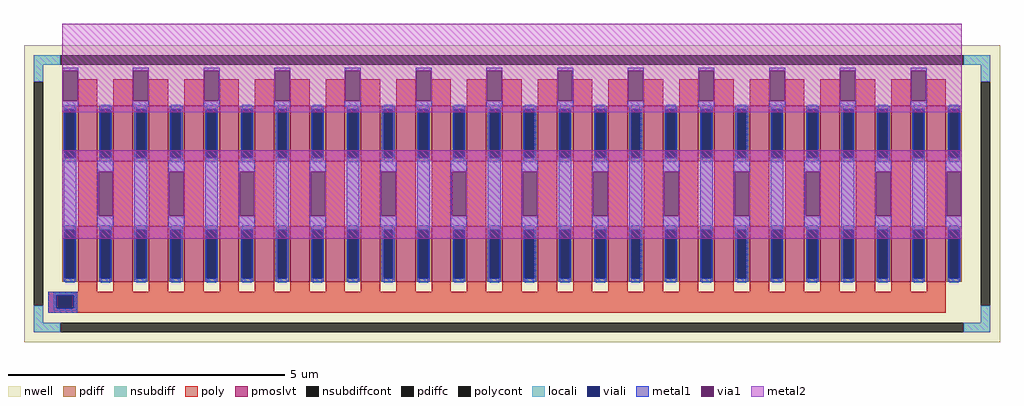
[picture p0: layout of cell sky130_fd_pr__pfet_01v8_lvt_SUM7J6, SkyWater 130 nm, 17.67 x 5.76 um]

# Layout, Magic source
magic
tech sky130A
magscale 1 2
<< nwell >>
rect -1768 -538 1766 536
<< pmoslvt >>
rect -1572 117 -1502 317
rect -1444 117 -1374 317
rect -1316 117 -1246 317
rect -1188 117 -1118 317
rect -1060 117 -990 317
rect -932 117 -862 317
rect -804 117 -734 317
rect -676 117 -606 317
rect -548 117 -478 317
rect -420 117 -350 317
rect -292 117 -222 317
rect -164 117 -94 317
rect -36 117 34 317
rect 92 117 162 317
rect 220 117 290 317
rect 348 117 418 317
rect 476 117 546 317
rect 604 117 674 317
rect 732 117 802 317
rect 860 117 930 317
rect 988 117 1058 317
rect 1116 117 1186 317
rect 1244 117 1314 317
rect 1372 117 1442 317
rect 1500 117 1570 317
rect -1572 -319 -1502 -119
rect -1444 -319 -1374 -119
rect -1316 -319 -1246 -119
rect -1188 -319 -1118 -119
rect -1060 -319 -990 -119
rect -932 -319 -862 -119
rect -804 -319 -734 -119
rect -676 -319 -606 -119
rect -548 -319 -478 -119
rect -420 -319 -350 -119
rect -292 -319 -222 -119
rect -164 -319 -94 -119
rect -36 -319 34 -119
rect 92 -319 162 -119
rect 220 -319 290 -119
rect 348 -319 418 -119
rect 476 -319 546 -119
rect 604 -319 674 -119
rect 732 -319 802 -119
rect 860 -319 930 -119
rect 988 -319 1058 -119
rect 1116 -319 1186 -119
rect 1244 -319 1314 -119
rect 1372 -319 1442 -119
rect 1500 -319 1570 -119
<< pdiff >>
rect -1630 305 -1572 317
rect -1630 129 -1618 305
rect -1584 129 -1572 305
rect -1630 117 -1572 129
rect -1502 305 -1444 317
rect -1502 129 -1490 305
rect -1456 129 -1444 305
rect -1502 117 -1444 129
rect -1374 305 -1316 317
rect -1374 129 -1362 305
rect -1328 129 -1316 305
rect -1374 117 -1316 129
rect -1246 305 -1188 317
rect -1246 129 -1234 305
rect -1200 129 -1188 305
rect -1246 117 -1188 129
rect -1118 305 -1060 317
rect -1118 129 -1106 305
rect -1072 129 -1060 305
rect -1118 117 -1060 129
rect -990 305 -932 317
rect -990 129 -978 305
rect -944 129 -932 305
rect -990 117 -932 129
rect -862 305 -804 317
rect -862 129 -850 305
rect -816 129 -804 305
rect -862 117 -804 129
rect -734 305 -676 317
rect -734 129 -722 305
rect -688 129 -676 305
rect -734 117 -676 129
rect -606 305 -548 317
rect -606 129 -594 305
rect -560 129 -548 305
rect -606 117 -548 129
rect -478 305 -420 317
rect -478 129 -466 305
rect -432 129 -420 305
rect -478 117 -420 129
rect -350 305 -292 317
rect -350 129 -338 305
rect -304 129 -292 305
rect -350 117 -292 129
rect -222 305 -164 317
rect -222 129 -210 305
rect -176 129 -164 305
rect -222 117 -164 129
rect -94 305 -36 317
rect -94 129 -82 305
rect -48 129 -36 305
rect -94 117 -36 129
rect 34 305 92 317
rect 34 129 46 305
rect 80 129 92 305
rect 34 117 92 129
rect 162 305 220 317
rect 162 129 174 305
rect 208 129 220 305
rect 162 117 220 129
rect 290 305 348 317
rect 290 129 302 305
rect 336 129 348 305
rect 290 117 348 129
rect 418 305 476 317
rect 418 129 430 305
rect 464 129 476 305
rect 418 117 476 129
rect 546 305 604 317
rect 546 129 558 305
rect 592 129 604 305
rect 546 117 604 129
rect 674 305 732 317
rect 674 129 686 305
rect 720 129 732 305
rect 674 117 732 129
rect 802 305 860 317
rect 802 129 814 305
rect 848 129 860 305
rect 802 117 860 129
rect 930 305 988 317
rect 930 129 942 305
rect 976 129 988 305
rect 930 117 988 129
rect 1058 305 1116 317
rect 1058 129 1070 305
rect 1104 129 1116 305
rect 1058 117 1116 129
rect 1186 305 1244 317
rect 1186 129 1198 305
rect 1232 129 1244 305
rect 1186 117 1244 129
rect 1314 305 1372 317
rect 1314 129 1326 305
rect 1360 129 1372 305
rect 1314 117 1372 129
rect 1442 305 1500 317
rect 1442 129 1454 305
rect 1488 129 1500 305
rect 1442 117 1500 129
rect 1570 305 1628 317
rect 1570 129 1582 305
rect 1616 129 1628 305
rect 1570 117 1628 129
rect -1630 -131 -1572 -119
rect -1630 -307 -1618 -131
rect -1584 -307 -1572 -131
rect -1630 -319 -1572 -307
rect -1502 -131 -1444 -119
rect -1502 -307 -1490 -131
rect -1456 -307 -1444 -131
rect -1502 -319 -1444 -307
rect -1374 -131 -1316 -119
rect -1374 -307 -1362 -131
rect -1328 -307 -1316 -131
rect -1374 -319 -1316 -307
rect -1246 -131 -1188 -119
rect -1246 -307 -1234 -131
rect -1200 -307 -1188 -131
rect -1246 -319 -1188 -307
rect -1118 -131 -1060 -119
rect -1118 -307 -1106 -131
rect -1072 -307 -1060 -131
rect -1118 -319 -1060 -307
rect -990 -131 -932 -119
rect -990 -307 -978 -131
rect -944 -307 -932 -131
rect -990 -319 -932 -307
rect -862 -131 -804 -119
rect -862 -307 -850 -131
rect -816 -307 -804 -131
rect -862 -319 -804 -307
rect -734 -131 -676 -119
rect -734 -307 -722 -131
rect -688 -307 -676 -131
rect -734 -319 -676 -307
rect -606 -131 -548 -119
rect -606 -307 -594 -131
rect -560 -307 -548 -131
rect -606 -319 -548 -307
rect -478 -131 -420 -119
rect -478 -307 -466 -131
rect -432 -307 -420 -131
rect -478 -319 -420 -307
rect -350 -131 -292 -119
rect -350 -307 -338 -131
rect -304 -307 -292 -131
rect -350 -319 -292 -307
rect -222 -131 -164 -119
rect -222 -307 -210 -131
rect -176 -307 -164 -131
rect -222 -319 -164 -307
rect -94 -131 -36 -119
rect -94 -307 -82 -131
rect -48 -307 -36 -131
rect -94 -319 -36 -307
rect 34 -131 92 -119
rect 34 -307 46 -131
rect 80 -307 92 -131
rect 34 -319 92 -307
rect 162 -131 220 -119
rect 162 -307 174 -131
rect 208 -307 220 -131
rect 162 -319 220 -307
rect 290 -131 348 -119
rect 290 -307 302 -131
rect 336 -307 348 -131
rect 290 -319 348 -307
rect 418 -131 476 -119
rect 418 -307 430 -131
rect 464 -307 476 -131
rect 418 -319 476 -307
rect 546 -131 604 -119
rect 546 -307 558 -131
rect 592 -307 604 -131
rect 546 -319 604 -307
rect 674 -131 732 -119
rect 674 -307 686 -131
rect 720 -307 732 -131
rect 674 -319 732 -307
rect 802 -131 860 -119
rect 802 -307 814 -131
rect 848 -307 860 -131
rect 802 -319 860 -307
rect 930 -131 988 -119
rect 930 -307 942 -131
rect 976 -307 988 -131
rect 930 -319 988 -307
rect 1058 -131 1116 -119
rect 1058 -307 1070 -131
rect 1104 -307 1116 -131
rect 1058 -319 1116 -307
rect 1186 -131 1244 -119
rect 1186 -307 1198 -131
rect 1232 -307 1244 -131
rect 1186 -319 1244 -307
rect 1314 -131 1372 -119
rect 1314 -307 1326 -131
rect 1360 -307 1372 -131
rect 1314 -319 1372 -307
rect 1442 -131 1500 -119
rect 1442 -307 1454 -131
rect 1488 -307 1500 -131
rect 1442 -319 1500 -307
rect 1570 -131 1628 -119
rect 1570 -307 1582 -131
rect 1616 -307 1628 -131
rect 1570 -319 1628 -307
<< pdiffc >>
rect -1618 129 -1584 305
rect -1490 129 -1456 305
rect -1362 129 -1328 305
rect -1234 129 -1200 305
rect -1106 129 -1072 305
rect -978 129 -944 305
rect -850 129 -816 305
rect -722 129 -688 305
rect -594 129 -560 305
rect -466 129 -432 305
rect -338 129 -304 305
rect -210 129 -176 305
rect -82 129 -48 305
rect 46 129 80 305
rect 174 129 208 305
rect 302 129 336 305
rect 430 129 464 305
rect 558 129 592 305
rect 686 129 720 305
rect 814 129 848 305
rect 942 129 976 305
rect 1070 129 1104 305
rect 1198 129 1232 305
rect 1326 129 1360 305
rect 1454 129 1488 305
rect 1582 129 1616 305
rect -1618 -307 -1584 -131
rect -1490 -307 -1456 -131
rect -1362 -307 -1328 -131
rect -1234 -307 -1200 -131
rect -1106 -307 -1072 -131
rect -978 -307 -944 -131
rect -850 -307 -816 -131
rect -722 -307 -688 -131
rect -594 -307 -560 -131
rect -466 -307 -432 -131
rect -338 -307 -304 -131
rect -210 -307 -176 -131
rect -82 -307 -48 -131
rect 46 -307 80 -131
rect 174 -307 208 -131
rect 302 -307 336 -131
rect 430 -307 464 -131
rect 558 -307 592 -131
rect 686 -307 720 -131
rect 814 -307 848 -131
rect 942 -307 976 -131
rect 1070 -307 1104 -131
rect 1198 -307 1232 -131
rect 1326 -307 1360 -131
rect 1454 -307 1488 -131
rect 1582 -307 1616 -131
<< nsubdiff >>
rect -1732 466 -1636 500
rect 1634 466 1730 500
rect -1732 404 -1698 466
rect 1696 404 1730 466
rect -1732 -468 -1698 -406
rect 1696 -468 1730 -406
rect -1732 -502 -1636 -468
rect 1634 -502 1730 -468
<< nsubdiffcont >>
rect -1636 466 1634 500
rect -1732 -406 -1698 404
rect 1696 -406 1730 404
rect -1636 -502 1634 -468
<< poly >>
rect -1572 317 -1502 414
rect -1444 317 -1374 414
rect -1316 317 -1246 414
rect -1188 317 -1118 414
rect -1060 317 -990 414
rect -932 317 -862 414
rect -804 317 -734 414
rect -676 317 -606 414
rect -548 317 -478 414
rect -420 317 -350 414
rect -292 317 -222 414
rect -164 317 -94 414
rect -36 317 34 414
rect 92 317 162 414
rect 220 317 290 414
rect 348 317 418 414
rect 476 317 546 414
rect 604 317 674 414
rect 732 317 802 414
rect 860 317 930 414
rect 988 317 1058 414
rect 1116 317 1186 414
rect 1244 317 1314 414
rect 1372 317 1442 414
rect 1500 317 1570 414
rect -1572 -119 -1502 117
rect -1444 -119 -1374 117
rect -1316 -119 -1246 117
rect -1188 -119 -1118 117
rect -1060 -119 -990 117
rect -932 -119 -862 117
rect -804 -119 -734 117
rect -676 -119 -606 117
rect -548 -119 -478 117
rect -420 -119 -350 117
rect -292 -119 -222 117
rect -164 -119 -94 117
rect -36 -119 34 117
rect 92 -119 162 117
rect 220 -119 290 117
rect 348 -119 418 117
rect 476 -119 546 117
rect 604 -119 674 117
rect 732 -119 802 117
rect 860 -119 930 117
rect 988 -119 1058 117
rect 1116 -119 1186 117
rect 1244 -119 1314 117
rect 1372 -119 1442 117
rect 1500 -119 1570 117
rect -1572 -356 -1502 -319
rect -1444 -356 -1374 -319
rect -1316 -356 -1246 -319
rect -1188 -356 -1118 -319
rect -1060 -356 -990 -319
rect -932 -356 -862 -319
rect -804 -356 -734 -319
rect -676 -356 -606 -319
rect -548 -356 -478 -319
rect -420 -356 -350 -319
rect -292 -356 -222 -319
rect -164 -356 -94 -319
rect -36 -356 34 -319
rect 92 -356 162 -319
rect 220 -356 290 -319
rect 348 -356 418 -319
rect 476 -356 546 -319
rect 604 -356 674 -319
rect 732 -356 802 -319
rect 860 -356 930 -319
rect 988 -356 1058 -319
rect 1116 -356 1186 -319
rect 1244 -356 1314 -319
rect 1372 -356 1442 -319
rect 1500 -356 1570 -319
rect -1680 -374 1570 -356
rect -1680 -408 -1644 -374
rect -1596 -408 1570 -374
rect -1680 -432 1570 -408
<< polycont >>
rect -1644 -408 -1596 -374
<< locali >>
rect -1732 466 -1636 500
rect 1634 466 1730 500
rect -1732 404 -1698 466
rect 1696 404 1730 466
rect -1618 305 -1584 321
rect -1618 113 -1584 129
rect -1490 305 -1456 321
rect -1490 113 -1456 129
rect -1362 305 -1328 321
rect -1362 113 -1328 129
rect -1234 305 -1200 321
rect -1234 113 -1200 129
rect -1106 305 -1072 321
rect -1106 113 -1072 129
rect -978 305 -944 321
rect -978 113 -944 129
rect -850 305 -816 321
rect -850 113 -816 129
rect -722 305 -688 321
rect -722 113 -688 129
rect -594 305 -560 321
rect -594 113 -560 129
rect -466 305 -432 321
rect -466 113 -432 129
rect -338 305 -304 321
rect -338 113 -304 129
rect -210 305 -176 321
rect -210 113 -176 129
rect -82 305 -48 321
rect -82 113 -48 129
rect 46 305 80 321
rect 46 113 80 129
rect 174 305 208 321
rect 174 113 208 129
rect 302 305 336 321
rect 302 113 336 129
rect 430 305 464 321
rect 430 113 464 129
rect 558 305 592 321
rect 558 113 592 129
rect 686 305 720 321
rect 686 113 720 129
rect 814 305 848 321
rect 814 113 848 129
rect 942 305 976 321
rect 942 113 976 129
rect 1070 305 1104 321
rect 1070 113 1104 129
rect 1198 305 1232 321
rect 1198 113 1232 129
rect 1326 305 1360 321
rect 1326 113 1360 129
rect 1454 305 1488 321
rect 1454 113 1488 129
rect 1582 305 1616 321
rect 1582 113 1616 129
rect -1618 -131 -1584 -115
rect -1618 -323 -1584 -307
rect -1490 -131 -1456 -115
rect -1490 -323 -1456 -307
rect -1362 -131 -1328 -115
rect -1362 -323 -1328 -307
rect -1234 -131 -1200 -115
rect -1234 -323 -1200 -307
rect -1106 -131 -1072 -115
rect -1106 -323 -1072 -307
rect -978 -131 -944 -115
rect -978 -323 -944 -307
rect -850 -131 -816 -115
rect -850 -323 -816 -307
rect -722 -131 -688 -115
rect -722 -323 -688 -307
rect -594 -131 -560 -115
rect -594 -323 -560 -307
rect -466 -131 -432 -115
rect -466 -323 -432 -307
rect -338 -131 -304 -115
rect -338 -323 -304 -307
rect -210 -131 -176 -115
rect -210 -323 -176 -307
rect -82 -131 -48 -115
rect -82 -323 -48 -307
rect 46 -131 80 -115
rect 46 -323 80 -307
rect 174 -131 208 -115
rect 174 -323 208 -307
rect 302 -131 336 -115
rect 302 -323 336 -307
rect 430 -131 464 -115
rect 430 -323 464 -307
rect 558 -131 592 -115
rect 558 -323 592 -307
rect 686 -131 720 -115
rect 686 -323 720 -307
rect 814 -131 848 -115
rect 814 -323 848 -307
rect 942 -131 976 -115
rect 942 -323 976 -307
rect 1070 -131 1104 -115
rect 1070 -323 1104 -307
rect 1198 -131 1232 -115
rect 1198 -323 1232 -307
rect 1326 -131 1360 -115
rect 1326 -323 1360 -307
rect 1454 -131 1488 -115
rect 1454 -323 1488 -307
rect 1582 -131 1616 -115
rect 1582 -323 1616 -307
rect -1732 -468 -1698 -406
rect -1660 -368 -1580 -360
rect -1660 -416 -1652 -368
rect -1588 -416 -1580 -368
rect -1660 -424 -1580 -416
rect 1696 -468 1730 -406
rect -1732 -502 -1636 -468
rect 1634 -502 1730 -468
<< viali >>
rect -1618 129 -1584 305
rect -1490 129 -1456 305
rect -1362 129 -1328 305
rect -1234 129 -1200 305
rect -1106 129 -1072 305
rect -978 129 -944 305
rect -850 129 -816 305
rect -722 129 -688 305
rect -594 129 -560 305
rect -466 129 -432 305
rect -338 129 -304 305
rect -210 129 -176 305
rect -82 129 -48 305
rect 46 129 80 305
rect 174 129 208 305
rect 302 129 336 305
rect 430 129 464 305
rect 558 129 592 305
rect 686 129 720 305
rect 814 129 848 305
rect 942 129 976 305
rect 1070 129 1104 305
rect 1198 129 1232 305
rect 1326 129 1360 305
rect 1454 129 1488 305
rect 1582 129 1616 305
rect -1618 -307 -1584 -131
rect -1490 -307 -1456 -131
rect -1362 -307 -1328 -131
rect -1234 -307 -1200 -131
rect -1106 -307 -1072 -131
rect -978 -307 -944 -131
rect -850 -307 -816 -131
rect -722 -307 -688 -131
rect -594 -307 -560 -131
rect -466 -307 -432 -131
rect -338 -307 -304 -131
rect -210 -307 -176 -131
rect -82 -307 -48 -131
rect 46 -307 80 -131
rect 174 -307 208 -131
rect 302 -307 336 -131
rect 430 -307 464 -131
rect 558 -307 592 -131
rect 686 -307 720 -131
rect 814 -307 848 -131
rect 942 -307 976 -131
rect 1070 -307 1104 -131
rect 1198 -307 1232 -131
rect 1326 -307 1360 -131
rect 1454 -307 1488 -131
rect 1582 -307 1616 -131
rect -1652 -374 -1588 -368
rect -1652 -408 -1644 -374
rect -1644 -408 -1596 -374
rect -1596 -408 -1588 -374
rect -1652 -416 -1588 -408
<< metal1 >>
rect -1630 444 -1572 456
rect -1630 336 -1628 444
rect -1574 336 -1572 444
rect -1630 314 -1572 336
rect -1374 444 -1316 456
rect -1374 336 -1372 444
rect -1318 336 -1316 444
rect -1624 305 -1578 314
rect -1624 129 -1618 305
rect -1584 129 -1578 305
rect -1624 -131 -1578 129
rect -1496 305 -1450 317
rect -1374 314 -1316 336
rect -1118 444 -1060 456
rect -1118 336 -1116 444
rect -1062 336 -1060 444
rect -1496 129 -1490 305
rect -1456 129 -1450 305
rect -1496 118 -1450 129
rect -1368 305 -1322 314
rect -1368 129 -1362 305
rect -1328 129 -1322 305
rect -1502 78 -1444 118
rect -1502 -80 -1498 78
rect -1446 -80 -1444 78
rect -1502 -120 -1444 -80
rect -1624 -307 -1618 -131
rect -1584 -307 -1578 -131
rect -1624 -319 -1578 -307
rect -1496 -131 -1450 -120
rect -1496 -307 -1490 -131
rect -1456 -307 -1450 -131
rect -1496 -319 -1450 -307
rect -1368 -131 -1322 129
rect -1240 305 -1194 317
rect -1118 314 -1060 336
rect -862 444 -804 456
rect -862 336 -860 444
rect -806 336 -804 444
rect -1240 129 -1234 305
rect -1200 129 -1194 305
rect -1240 118 -1194 129
rect -1112 305 -1066 314
rect -1112 129 -1106 305
rect -1072 129 -1066 305
rect -1246 78 -1188 118
rect -1246 -80 -1242 78
rect -1190 -80 -1188 78
rect -1246 -120 -1188 -80
rect -1368 -307 -1362 -131
rect -1328 -307 -1322 -131
rect -1368 -319 -1322 -307
rect -1240 -131 -1194 -120
rect -1240 -307 -1234 -131
rect -1200 -307 -1194 -131
rect -1240 -319 -1194 -307
rect -1112 -131 -1066 129
rect -984 305 -938 317
rect -862 314 -804 336
rect -606 444 -548 456
rect -606 336 -604 444
rect -550 336 -548 444
rect -984 129 -978 305
rect -944 129 -938 305
rect -984 118 -938 129
rect -856 305 -810 314
rect -856 129 -850 305
rect -816 129 -810 305
rect -990 78 -932 118
rect -990 -80 -986 78
rect -934 -80 -932 78
rect -990 -120 -932 -80
rect -1112 -307 -1106 -131
rect -1072 -307 -1066 -131
rect -1112 -319 -1066 -307
rect -984 -131 -938 -120
rect -984 -307 -978 -131
rect -944 -307 -938 -131
rect -984 -319 -938 -307
rect -856 -131 -810 129
rect -728 305 -682 317
rect -606 314 -548 336
rect -350 444 -292 456
rect -350 336 -348 444
rect -294 336 -292 444
rect -728 129 -722 305
rect -688 129 -682 305
rect -728 118 -682 129
rect -600 305 -554 314
rect -600 129 -594 305
rect -560 129 -554 305
rect -734 78 -676 118
rect -734 -80 -730 78
rect -678 -80 -676 78
rect -734 -120 -676 -80
rect -856 -307 -850 -131
rect -816 -307 -810 -131
rect -856 -319 -810 -307
rect -728 -131 -682 -120
rect -728 -307 -722 -131
rect -688 -307 -682 -131
rect -728 -319 -682 -307
rect -600 -131 -554 129
rect -472 305 -426 317
rect -350 314 -292 336
rect -94 444 -36 456
rect -94 336 -92 444
rect -38 336 -36 444
rect -472 129 -466 305
rect -432 129 -426 305
rect -472 118 -426 129
rect -344 305 -298 314
rect -344 129 -338 305
rect -304 129 -298 305
rect -478 78 -420 118
rect -478 -80 -474 78
rect -422 -80 -420 78
rect -478 -120 -420 -80
rect -600 -307 -594 -131
rect -560 -307 -554 -131
rect -600 -319 -554 -307
rect -472 -131 -426 -120
rect -472 -307 -466 -131
rect -432 -307 -426 -131
rect -472 -319 -426 -307
rect -344 -131 -298 129
rect -216 305 -170 317
rect -94 314 -36 336
rect 162 444 220 456
rect 162 336 164 444
rect 218 336 220 444
rect -216 129 -210 305
rect -176 129 -170 305
rect -216 118 -170 129
rect -88 305 -42 314
rect -88 129 -82 305
rect -48 129 -42 305
rect -222 78 -164 118
rect -222 -80 -218 78
rect -166 -80 -164 78
rect -222 -120 -164 -80
rect -344 -307 -338 -131
rect -304 -307 -298 -131
rect -344 -319 -298 -307
rect -216 -131 -170 -120
rect -216 -307 -210 -131
rect -176 -307 -170 -131
rect -216 -319 -170 -307
rect -88 -131 -42 129
rect 40 305 86 317
rect 162 314 220 336
rect 418 444 476 456
rect 418 336 420 444
rect 474 336 476 444
rect 40 129 46 305
rect 80 129 86 305
rect 40 118 86 129
rect 168 305 214 314
rect 168 129 174 305
rect 208 129 214 305
rect 34 78 92 118
rect 34 -80 38 78
rect 90 -80 92 78
rect 34 -120 92 -80
rect -88 -307 -82 -131
rect -48 -307 -42 -131
rect -88 -319 -42 -307
rect 40 -131 86 -120
rect 40 -307 46 -131
rect 80 -307 86 -131
rect 40 -319 86 -307
rect 168 -131 214 129
rect 296 305 342 317
rect 418 314 476 336
rect 674 444 732 456
rect 674 336 676 444
rect 730 336 732 444
rect 296 129 302 305
rect 336 129 342 305
rect 296 118 342 129
rect 424 305 470 314
rect 424 129 430 305
rect 464 129 470 305
rect 290 78 348 118
rect 290 -80 294 78
rect 346 -80 348 78
rect 290 -120 348 -80
rect 168 -307 174 -131
rect 208 -307 214 -131
rect 168 -319 214 -307
rect 296 -131 342 -120
rect 296 -307 302 -131
rect 336 -307 342 -131
rect 296 -319 342 -307
rect 424 -131 470 129
rect 552 305 598 317
rect 674 314 732 336
rect 930 444 988 456
rect 930 336 932 444
rect 986 336 988 444
rect 552 129 558 305
rect 592 129 598 305
rect 552 118 598 129
rect 680 305 726 314
rect 680 129 686 305
rect 720 129 726 305
rect 546 78 604 118
rect 546 -80 550 78
rect 602 -80 604 78
rect 546 -120 604 -80
rect 424 -307 430 -131
rect 464 -307 470 -131
rect 424 -319 470 -307
rect 552 -131 598 -120
rect 552 -307 558 -131
rect 592 -307 598 -131
rect 552 -319 598 -307
rect 680 -131 726 129
rect 808 305 854 317
rect 930 314 988 336
rect 1186 444 1244 456
rect 1186 336 1188 444
rect 1242 336 1244 444
rect 808 129 814 305
rect 848 129 854 305
rect 808 118 854 129
rect 936 305 982 314
rect 936 129 942 305
rect 976 129 982 305
rect 802 78 860 118
rect 802 -80 806 78
rect 858 -80 860 78
rect 802 -120 860 -80
rect 680 -307 686 -131
rect 720 -307 726 -131
rect 680 -319 726 -307
rect 808 -131 854 -120
rect 808 -307 814 -131
rect 848 -307 854 -131
rect 808 -319 854 -307
rect 936 -131 982 129
rect 1064 305 1110 317
rect 1186 314 1244 336
rect 1442 444 1500 456
rect 1442 336 1444 444
rect 1498 336 1500 444
rect 1064 129 1070 305
rect 1104 129 1110 305
rect 1064 118 1110 129
rect 1192 305 1238 314
rect 1192 129 1198 305
rect 1232 129 1238 305
rect 1058 78 1116 118
rect 1058 -80 1062 78
rect 1114 -80 1116 78
rect 1058 -120 1116 -80
rect 936 -307 942 -131
rect 976 -307 982 -131
rect 936 -319 982 -307
rect 1064 -131 1110 -120
rect 1064 -307 1070 -131
rect 1104 -307 1110 -131
rect 1064 -319 1110 -307
rect 1192 -131 1238 129
rect 1320 305 1366 317
rect 1442 314 1500 336
rect 1320 129 1326 305
rect 1360 129 1366 305
rect 1320 118 1366 129
rect 1448 305 1494 314
rect 1448 129 1454 305
rect 1488 129 1494 305
rect 1314 78 1372 118
rect 1314 -80 1318 78
rect 1370 -80 1372 78
rect 1314 -120 1372 -80
rect 1192 -307 1198 -131
rect 1232 -307 1238 -131
rect 1192 -319 1238 -307
rect 1320 -131 1366 -120
rect 1320 -307 1326 -131
rect 1360 -307 1366 -131
rect 1320 -319 1366 -307
rect 1448 -131 1494 129
rect 1576 305 1622 317
rect 1576 129 1582 305
rect 1616 129 1622 305
rect 1576 118 1622 129
rect 1570 78 1628 118
rect 1570 -80 1574 78
rect 1626 -80 1628 78
rect 1570 -120 1628 -80
rect 1448 -307 1454 -131
rect 1488 -307 1494 -131
rect 1448 -319 1494 -307
rect 1576 -131 1622 -120
rect 1576 -307 1582 -131
rect 1616 -307 1622 -131
rect 1576 -319 1622 -307
rect -1680 -368 -1576 -356
rect -1680 -416 -1652 -368
rect -1588 -416 -1576 -368
rect -1680 -432 -1576 -416
<< via1 >>
rect -1628 336 -1574 444
rect -1372 336 -1318 444
rect -1116 336 -1062 444
rect -1498 -80 -1446 78
rect -860 336 -806 444
rect -1242 -80 -1190 78
rect -604 336 -550 444
rect -986 -80 -934 78
rect -348 336 -294 444
rect -730 -80 -678 78
rect -92 336 -38 444
rect -474 -80 -422 78
rect 164 336 218 444
rect -218 -80 -166 78
rect 420 336 474 444
rect 38 -80 90 78
rect 676 336 730 444
rect 294 -80 346 78
rect 932 336 986 444
rect 550 -80 602 78
rect 1188 336 1242 444
rect 806 -80 858 78
rect 1444 336 1498 444
rect 1062 -80 1114 78
rect 1318 -80 1370 78
rect 1574 -80 1626 78
<< metal2 >>
rect -1630 444 1628 614
rect -1630 336 -1628 444
rect -1574 336 -1372 444
rect -1318 336 -1116 444
rect -1062 336 -860 444
rect -806 336 -604 444
rect -550 336 -348 444
rect -294 336 -92 444
rect -38 336 164 444
rect 218 336 420 444
rect 474 336 676 444
rect 730 336 932 444
rect 986 336 1188 444
rect 1242 336 1444 444
rect 1498 336 1628 444
rect -1630 294 1628 336
rect -1630 78 1628 156
rect -1630 -80 -1498 78
rect -1446 -80 -1242 78
rect -1190 -80 -986 78
rect -934 -80 -730 78
rect -678 -80 -474 78
rect -422 -80 -218 78
rect -166 -80 38 78
rect 90 -80 294 78
rect 346 -80 550 78
rect 602 -80 806 78
rect 858 -80 1062 78
rect 1114 -80 1318 78
rect 1370 -80 1574 78
rect 1626 -80 1628 78
rect -1630 -164 1628 -80
<< properties >>
string FIXED_BBOX -1714 -484 1714 484
string gencell sky130_fd_pr__pfet_01v8_lvt
string library sky130
string parameters w 1.0 l 0.35 m 2 nf 25 diffcov 100 polycov 100 guard 1 glc 1 grc 1 gtc 1 gbc 1 tbcov 100 rlcov 100 topc 1 botc 1 poverlap 0 doverlap 1 lmin 0.35 wmin 0.42 compatible {sky130_fd_pr__pfet_01v8  sky130_fd_pr__pfet_01v8_lvt sky130_fd_pr__pfet_01v8_hvt  sky130_fd_pr__pfet_g5v0d10v5} full_metal 1 viasrc 100 viadrn 100 viagate 100 viagb 0 viagr 0 viagl 0 viagt 0
<< end >>
